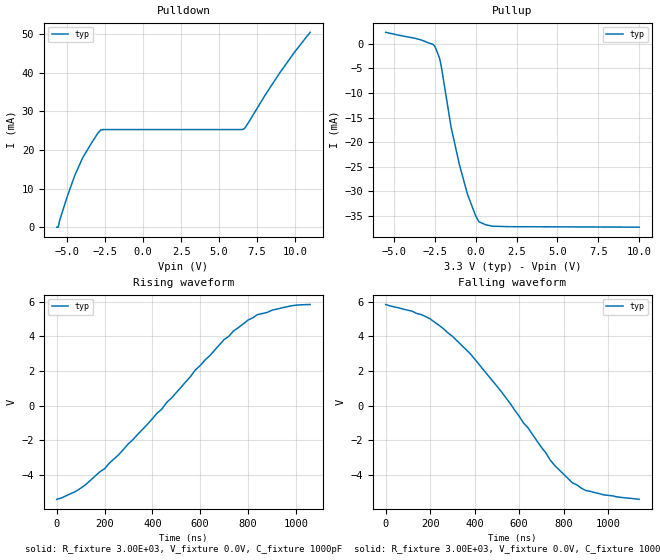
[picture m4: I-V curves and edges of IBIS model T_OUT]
| [Disclaimer] Intersil Corporation provides IBIS models as a service to its
| customers, and hereby grants the user of this IBIS model a
| non-exclusive, nontransferable license to use this IBIS model.
| The user shall read this disclaimer and agree to the terms
| herein before using this IBIS model.  If the user does not
| accept these terms, the IBIS model may not be used.  Your use
| of this IBIS model shall serve as acceptance of these terms.
| The user is not granted rights to sell, loan, rent, lease or
| license the IBIS model in whole, in part, or in any modified
| form to anyone other than the user. The user may modify the
| IBIS model to suit their specific application, but all rights
| to derivative works shall belong to Intersil Corporation. This
| IBIS model is provided on an "AS IS" basis. Intersil
| Corporation makes absolutely no warranty with respect to the
| information contained herein. INTERSIL CORPORATION DISCLAIMS,
| AND THE CUSTOMER WAIVES, ALL WARRANTIES, EXPRESSED OR IMPLIED,
| INCLUDING WARRANTIES OF MERCHANTABILITY, NON-INFRINGEMENT, AND
| FITNESS FOR A PARTICULAR PURPOSE OR APPLICATION. The entire
| risk as to quality and performance is with the customer.
| Accordingly, in no event shall Intersil Corporation, its
| subsidiaries, directors, employees, or agents be liable for any
| damages, lost profits, or any other incidental, consequential,
| special, or punitive damages arising out of the use of this
| IBIS model.  Furthermore, Intersil Corporation reserves the
| right to make changes without notice to any IBIS model for any
| reason.  Intersil Corporation does not convey any license under
| patent rights or any other intellectual property rights,
| including those of third parties. Intersil Corporation is not
| obligated to provide maintenance or support for these IBIS
| models.
| [Copyright] (C) Copyright 2003, Intersil Corporation.  All Rights Reserved.
| From icl3217.ibs, ICL3217, Intersil Corporation
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|   Transmitter Output
[Model]   T_OUT
|Signals   T1OUT, T2OUT, T3OUT, T4OUT, T5OUT
Model_type   3-state
Polarity   Inverting
Vref   =   0.00
Rref   =   3.00E+03
Cref   =   1.00E+03
|   typ   min   max
C_comp   12.60pF   NA   NA
[Temperature Range]   25   -40   85
[Voltage Range]   3.30V   3.00V   5.50V
[Pullup Reference]   3.30V   3.00V   5.50V
[Pulldown Reference]   0.00V   0.00V   0.00V
[POWER Clamp Reference]   3.30V   3.00V   5.50V
[GND Clamp Reference]   0.00V   0.00V   0.00V
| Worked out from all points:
|   slope of the pullup table from 0 to 0.495 V, typ, clamps not added: 301 ohm
|   rising waveform, R_fixture 3.00E+03, V_fixture 0.0V, C_fixture 1000pF: 20-80 % time 452ns typ, NA min, NA max; typ from -5.39 V to 5.83 V
|   falling waveform, R_fixture 3.00E+03, V_fixture 0.0V, C_fixture 1000pF: 20-80 % time 408ns typ, NA min, NA max; typ from 5.83 V to -5.39 V
[POWER_clamp]
| Note that the[POWER_clamp]voltage table is referenced to Vcc
| and is calculated using Vtable=Vcc - Vmeasured.
|   V   I(typ)   I(min)   I(max)
-5.5V     0A         NA         NA
0V        0A         NA         NA
[GND_clamp]
|   V   I(typ)   I(min)   I(max)
-5.5V     0A         NA         NA
5.5V      0A         NA         NA
[Pullup]
| Note that the[Pullup]voltage table is referenced to Vcc
| and is calculated using Vtable=Vcc - Vmeasured.
|   V   I(typ)   I(min)   I(max)
-5.5V     2.34mA     NA         NA
-3.4V     860uA      NA         NA
-2.5V     -500uA     NA         NA
-2.2V     -3.05mA    NA         NA
-2.1V     -4.62mA    NA         NA
-1.5V     -17mA      NA         NA
-1V       -24.5mA    NA         NA
-500mV    -30.6mA    NA         NA
0V        -35mA      NA         NA
200mV     -36.2mA    NA         NA
1V        -37.1mA    NA         NA
10V       -37.3mA    NA         NA
[Pulldown]
|   V   I(typ)   I(min)   I(max)
-5.7V     0A         NA         NA
-5.6V     0A         NA         NA
-5.5V     1.82mA     NA         NA
-5V       8mA        NA         NA
-4.5V     13.5mA     NA         NA
-4V       17.9mA     NA         NA
-3V       24.3mA     NA         NA
-2.8V     25.2mA     NA         NA
6.6V      25.4mA     NA         NA
7V        27.5mA     NA         NA
9V        40mA       NA         NA
11V       50.5mA     NA         NA
[Rising Waveform]
R_fixture = 3.00E+03
V_fixture = 0.0V
C_fixture = 1000pF
|   Time   V(typ)   V(min)   V(max)
0s        -5.39V     NA         NA
80ns      -4.93V     NA         NA
120ns     -4.56V     NA         NA
200ns     -3.63V     NA         NA
440ns     -190mV     NA         NA
580ns     2.06V      NA         NA
740ns     4.31V      NA         NA
840ns     5.25V      NA         NA
980ns     5.75V      NA         NA
1.06us    5.83V      NA         NA
[Falling Waveform]
R_fixture = 3.00E+03
V_fixture = 0.0V
C_fixture = 1000pF
|   Time   V(typ)   V(min)   V(max)
0s        5.83V      NA         NA
180ns     5.13V      NA         NA
300ns     4V         NA         NA
380ns     3V         NA         NA
500ns     1.13V      NA         NA
640ns     -1.27V     NA         NA
740ns     -3.13V     NA         NA
840ns     -4.44V     NA         NA
900ns     -4.88V     NA         NA
1.14us    -5.39V     NA         NA
[Ramp]
|   typ   min   max
dV/dt_r   6.72V/240nS   NA   NA
dV/dt_f   6.74V/350nS   NA   NA
R_load = 3.00E+03ohms
